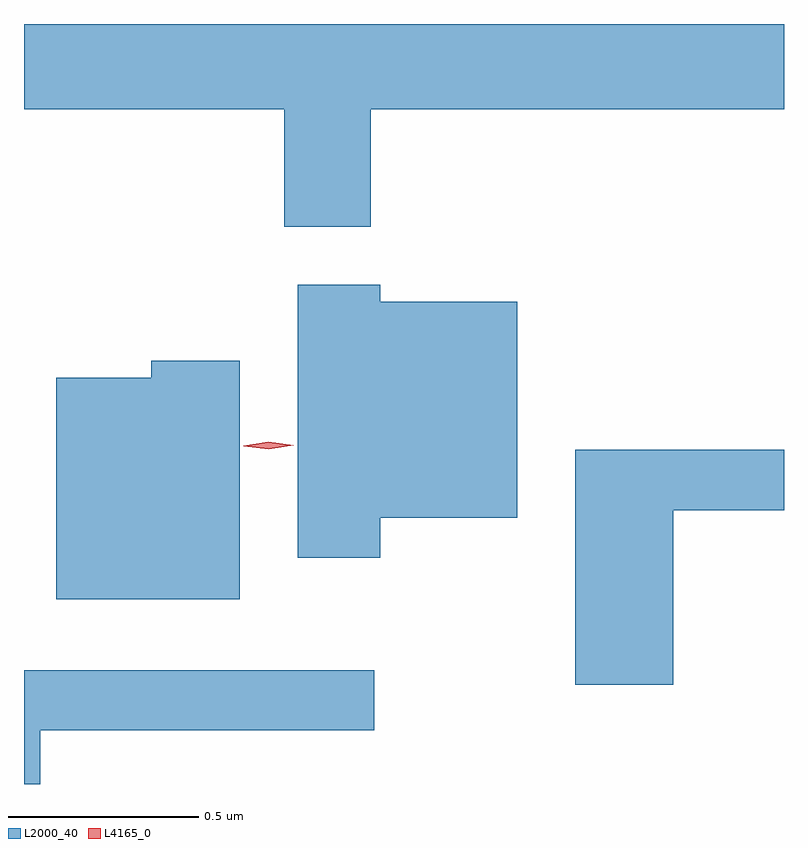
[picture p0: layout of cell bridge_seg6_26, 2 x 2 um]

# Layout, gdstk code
import gdstk
lib = gdstk.Library(unit=1e-6, precision=1e-09)
def P(c, l, *ps):  # polygons
    for p in ps: c.add(gdstk.Polygon(p, *l))
L2000_40 = (2000, 40)
L4165_0 = (4165, 0)

bridge_seg6_26 = lib.new_cell('bridge_seg6_26')
P(bridge_seg6_26, L2000_40, [(1786.489,1661.036),(1787.576,1661.036),(1787.576,1661.26),(1785.576,1661.26),(1785.576,1661.036),(1786.261,1661.036),(1786.261,1660.726),(1786.489,1660.726)],
  [(1786.514,1659.961),(1786.874,1659.961),(1786.874,1660.529),(1786.514,1660.529),(1786.514,1660.574),(1786.296,1660.574),(1786.296,1659.856),(1786.514,1659.856)],
  [(1786.144,1660.374),(1785.911,1660.374),(1785.911,1660.329),(1785.661,1660.329),(1785.661,1659.746),(1786.144,1659.746)],
  [(1787.284,1659.981),(1787.576,1659.981),(1787.576,1660.139),(1787.026,1660.139),(1787.026,1659.521),(1787.284,1659.521)],
  [(1785.619,1659.401),(1786.498,1659.401),(1786.498,1659.559),(1785.576,1659.559),(1785.576,1659.26),(1785.619,1659.26)])
P(bridge_seg6_26, L4165_0, [(1786.22,1660.141),(1786.154,1660.149),(1786.153,1660.15),(1786.154,1660.15),(1786.219,1660.161),(1786.286,1660.152),(1786.286,1660.152),(1786.286,1660.151)])

lib.write_gds('bridge_seg6_26.gds')
